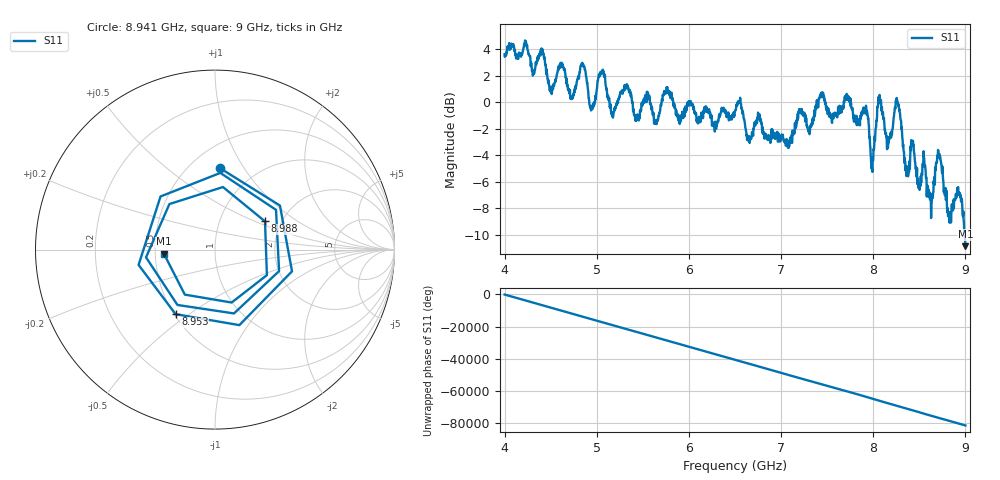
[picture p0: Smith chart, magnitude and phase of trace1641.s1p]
! Created with skrf 1.8.0 (http://scikit-rf.org).
# Hz S RI R 50.0
!freq ReS11 ImS11
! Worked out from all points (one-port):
!   1601 points, 4 GHz to 9 GHz, reference 50 ohm
!   lowest |S11| = -10.9 dB at 9 GHz (marker M1), VSWR 1.80, Z = 27.8 - j1.36 ohm
!   |S11| at or under -10 dB: 8.992367 GHz to end of sweep
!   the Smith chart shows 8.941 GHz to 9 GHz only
!   S11 on the Smith chart (normalised r, x): 8.941 GHz: 0.69, +0.79; 8.953 GHz: 0.51, -0.45; 8.988 GHz: 1.65, +0.58; 9 GHz: 0.56, -0.03
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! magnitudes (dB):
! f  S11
! 4 GHz  3.6
! 4.403 GHz  4.0
! 4.509 GHz  0.9
! 4.625 GHz  2.8
! 4.725 GHz  0.4
! 4.847 GHz  2.9
! 4.944 GHz  -0.4
! 5.047 GHz  2.2
! 5.166 GHz  -1.0
! 5.25 GHz  0.5
! 5.875 GHz  -0.9
! 6.5 GHz  -0.7
! 7.125 GHz  -2.1
! 7.75 GHz  -0.1
! 7.925 GHz  -0.5
! 7.988 GHz  -5.0
! 8.062 GHz  0.1
! 8.169 GHz  -3.0
! 8.266 GHz  0.0
! 8.375 GHz  -5.4
! 8.428 GHz  -3.1
! 8.622 GHz  -6.9
! 8.716 GHz  -3.9
! 8.825 GHz  -8.6
! 8.941 GHz  -6.9
! 8.953 GHz  -7.5
! 8.988 GHz  -9.9
! 9 GHz  -10.9
